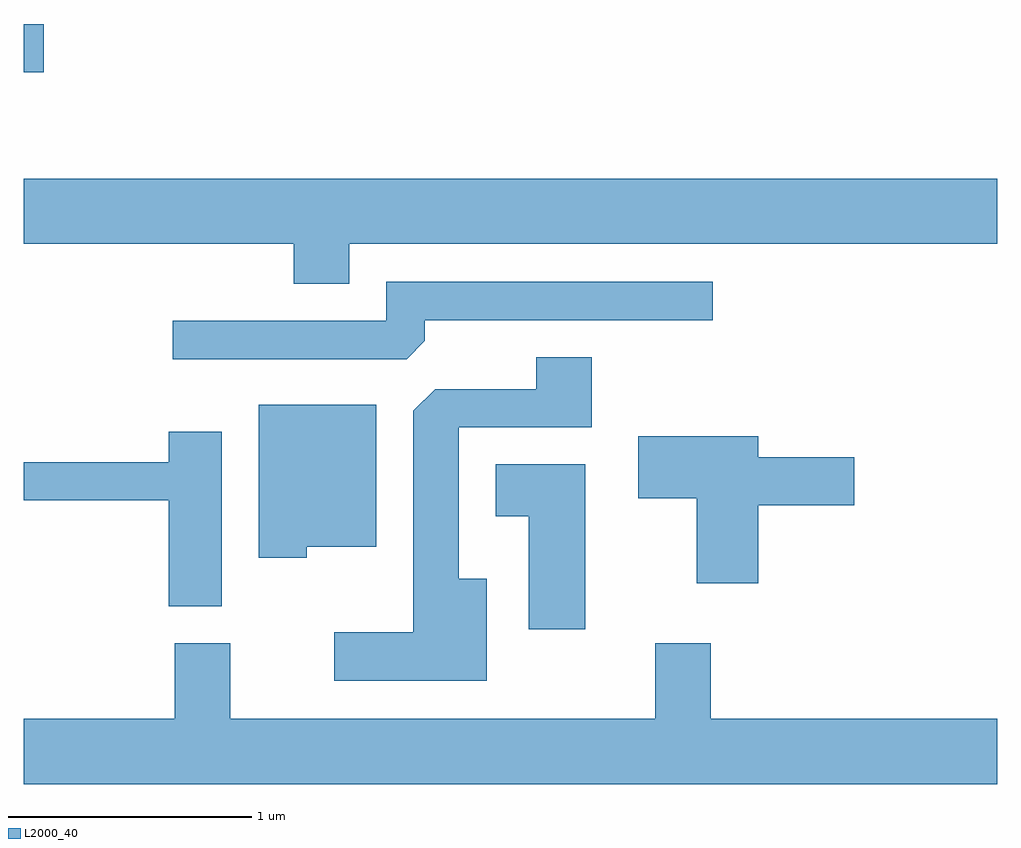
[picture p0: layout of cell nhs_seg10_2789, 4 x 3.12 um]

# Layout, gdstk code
import gdstk
lib = gdstk.Library(unit=1e-6, precision=1e-09)
def R(c, l, rs):  # rectangles x0, y0, x1, y1
    for r in rs: c.add(gdstk.rectangle(r[:2], r[2:], *l))
def P(c, l, *ps):  # polygons
    for p in ps: c.add(gdstk.Polygon(p, *l))
L2000_40 = (2000, 40)

nhs_seg10_2789 = lib.new_cell('nhs_seg10_2789')
R(nhs_seg10_2789, L2000_40, [(267.611,2107.961,267.694,2108.159)])
P(nhs_seg10_2789, L2000_40, [(268.949,2107.256),(271.611,2107.256),(271.611,2107.524),(267.611,2107.524),(267.611,2107.256),(268.721,2107.256),(268.721,2107.091),(268.949,2107.091)],
  [(269.259,2106.857),(269.259,2106.941),(270.443,2106.941),(270.443,2107.099),(269.101,2107.099),(269.101,2106.939),(268.223,2106.939),(268.223,2106.781),(269.184,2106.781)],
  [(269.514,2105.879),(269.399,2105.879),(269.399,2106.501),(269.944,2106.501),(269.944,2106.789),(269.716,2106.789),(269.716,2106.659),(269.302,2106.659),(269.211,2106.569),(269.211,2105.659),(268.886,2105.659),(268.886,2105.461),(269.514,2105.461)],
  [(268.774,2106.011),(269.059,2106.011),(269.059,2106.594),(268.576,2106.594),(268.576,2105.966),(268.774,2105.966)],
  [(268.424,2106.484),(268.206,2106.484),(268.206,2106.359),(267.611,2106.359),(267.611,2106.201),(268.206,2106.201),(268.206,2105.766),(268.424,2105.766)],
  [(270.629,2106.181),(271.024,2106.181),(271.024,2106.379),(270.629,2106.379),(270.629,2106.464),(270.136,2106.464),(270.136,2106.211),(270.376,2106.211),(270.376,2105.861),(270.629,2105.861)],
  [(269.919,2106.349),(269.551,2106.349),(269.551,2106.136),(269.686,2106.136),(269.686,2105.671),(269.919,2105.671)],
  [(271.611,2105.304),(270.434,2105.304),(270.434,2105.614),(270.206,2105.614),(270.206,2105.304),(268.459,2105.304),(268.459,2105.614),(268.231,2105.614),(268.231,2105.304),(267.611,2105.304),(267.611,2105.036),(271.611,2105.036)])

lib.write_gds('nhs_seg10_2789.gds')
